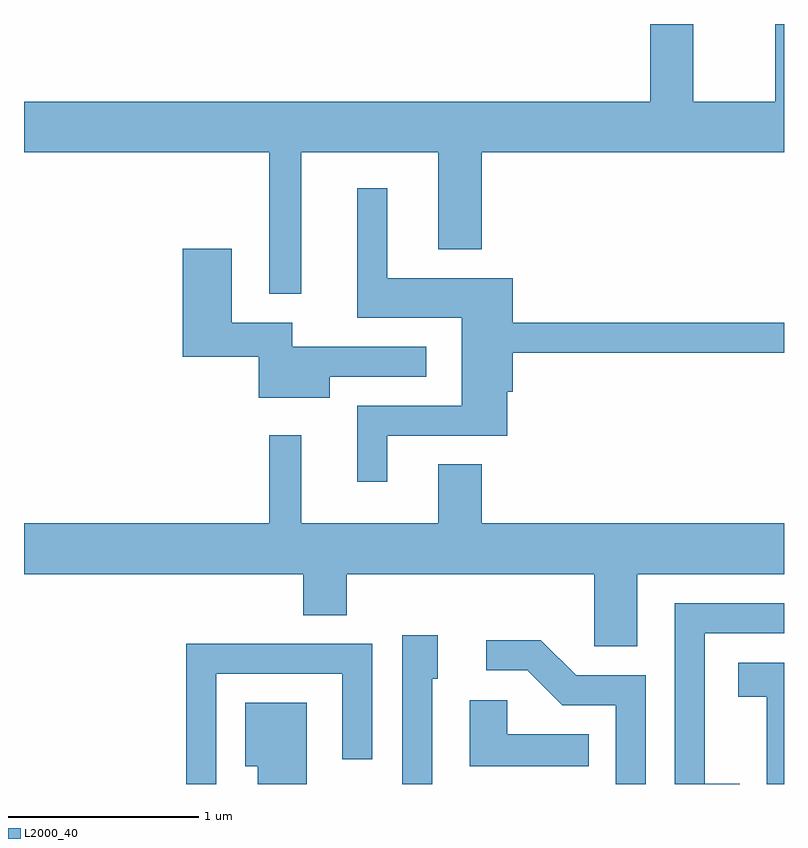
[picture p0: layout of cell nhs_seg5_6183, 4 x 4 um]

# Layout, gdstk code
import gdstk
lib = gdstk.Library(unit=1e-6, precision=1e-09)
def P(c, l, *ps):  # polygons
    for p in ps: c.add(gdstk.Polygon(p, *l))
L2000_40 = (2000, 40)

nhs_seg5_6183 = lib.new_cell('nhs_seg5_6183')
P(nhs_seg5_6183, L2000_40, [(369.069,1523.396),(369.791,1523.396),(369.791,1522.886),(370.019,1522.886),(370.019,1523.396),(371.611,1523.396),(371.611,1524.072),(371.566,1524.072),(371.566,1523.664),(371.134,1523.664),(371.134,1524.072),(370.906,1524.072),(370.906,1523.664),(367.611,1523.664),(367.611,1523.396),(368.901,1523.396),(368.901,1522.653),(369.069,1522.653)],
  [(369.524,1521.906),(370.154,1521.906),(370.154,1522.136),(370.184,1522.136),(370.184,1522.341),(371.611,1522.341),(371.611,1522.499),(370.184,1522.499),(370.184,1522.734),(369.524,1522.734),(369.524,1523.208),(369.366,1523.208),(369.366,1522.526),(369.916,1522.526),(369.916,1522.064),(369.366,1522.064),(369.366,1521.663),(369.524,1521.663)],
  [(369.219,1522.216),(369.728,1522.216),(369.728,1522.374),(369.024,1522.374),(369.024,1522.499),(368.704,1522.499),(368.704,1522.889),(368.446,1522.889),(368.446,1522.321),(368.846,1522.321),(368.846,1522.106),(369.219,1522.106)],
  [(370.839,1521.176),(371.611,1521.176),(371.611,1521.444),(370.019,1521.444),(370.019,1521.754),(369.791,1521.754),(369.791,1521.444),(369.069,1521.444),(369.069,1521.908),(368.901,1521.908),(368.901,1521.444),(367.611,1521.444),(367.611,1521.176),(369.081,1521.176),(369.081,1520.961),(369.309,1520.961),(369.309,1521.176),(370.611,1521.176),(370.611,1520.796),(370.839,1520.796)],
  [(371.378,1520.074),(371.194,1520.074),(371.194,1520.866),(371.611,1520.866),(371.611,1521.024),(371.036,1521.024),(371.036,1520.072),(371.378,1520.072)],
  [(369.759,1520.626),(369.789,1520.626),(369.789,1520.854),(369.601,1520.854),(369.601,1520.072),(369.759,1520.072)],
  [(370.884,1520.644),(370.517,1520.644),(370.332,1520.829),(370.043,1520.829),(370.043,1520.671),(370.259,1520.671),(370.444,1520.486),(370.726,1520.486),(370.726,1520.072),(370.884,1520.072)],
  [(368.624,1520.651),(369.286,1520.651),(369.286,1520.203),(369.444,1520.203),(369.444,1520.809),(368.466,1520.809),(368.466,1520.072),(368.624,1520.072)],
  [(371.611,1520.709),(371.371,1520.709),(371.371,1520.531),(371.521,1520.531),(371.521,1520.072),(371.611,1520.072)],
  [(370.583,1520.334),(370.154,1520.334),(370.154,1520.514),(369.956,1520.514),(369.956,1520.166),(370.583,1520.166)],
  [(369.099,1520.499),(368.776,1520.499),(368.776,1520.166),(368.841,1520.166),(368.841,1520.072),(369.099,1520.072)])

lib.write_gds('nhs_seg5_6183.gds')
